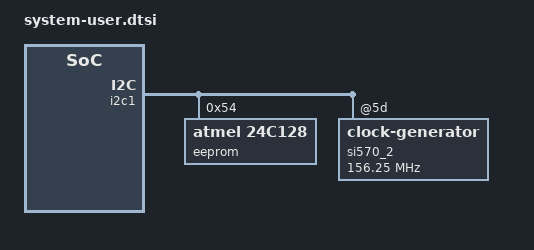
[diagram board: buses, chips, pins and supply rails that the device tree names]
/include/ "system-conf.dtsi"
/ {
	chosen {
		bootargs = " earlycon console=ttyPS0,115200 clk_ignore_unused root=/dev/ram0 rw";
		stdout-path = "serial0:115200n8";
	};
};
&i2c1 {
	i2c-mux@74 {
		i2c_eeprom: i2c@0 {
			eeprom: eeprom@54 {
				#address-cells = <1>;
				#size-cells = <1>;
				compatible = "atmel,24c128";
				reg = <0x54>;
				mac_address: mac-address@23 {
					reg = <0x23 6>;
				};
			};
		};
		i2c_si570_mgt: i2c@3 {
			si570_2: clock-generator@5d { /* USER MGT SI570 - u48 */
				clock-frequency = <156250000>;
			};
		};
	};
};
&gem3 {
	nvmem-cells = <&mac_address>;
	nvmem-cell-names = "mac-address";
	label = "eth0";
};
/ {
	axi_stream_dma_0@b0000000 {
		compatible = "axi_stream_dma";
		reg = <0x0 0xb0000000 0x0 0x10000>;
		interrupts = <0 89 4>;
		interrupt-parent = <&gic>;
	};
	usp_rf_data_converter@490000000 {
		compatible = "xlnx,usp-rf-data-converter-2.6";
		num-insts = <0x1>;
		param-list = [ ];
		reg = <0x4 0x90000000 0x0 0x40000>;
	};
};

